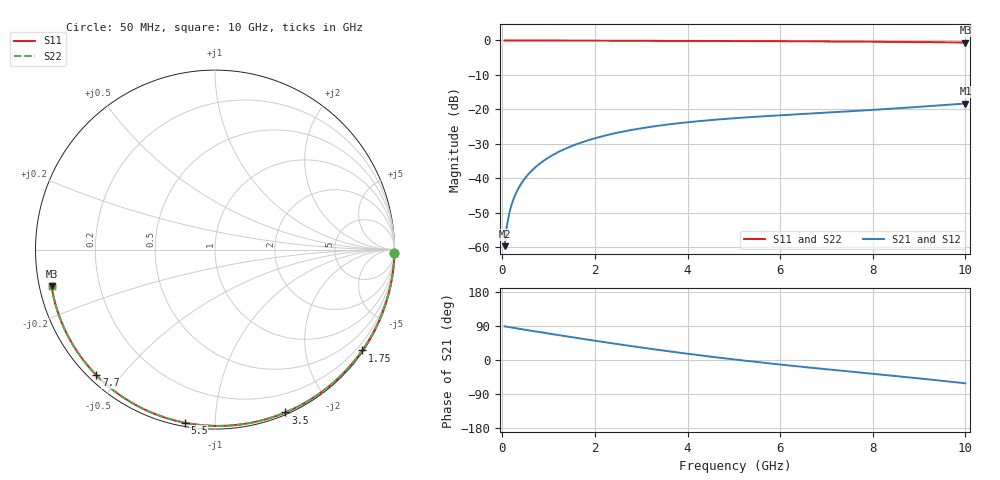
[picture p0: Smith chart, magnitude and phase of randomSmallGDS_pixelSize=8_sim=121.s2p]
! freq	dB(S11)	phase(S11)	dB(S12)	phase(S12)
!  dB(S21)	phase(S21)	dB(S22)	phase(S22)
!S-par simulation data
#  GHz  S  DB  R 50
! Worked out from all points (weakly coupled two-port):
!   200 points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, 50 MHz to 10 GHz, reference 50 ohm
!   highest |S21| = -18.32 dB at 10 GHz (marker M1); lowest = -59.8 dB at 50 MHz (marker M2)
!   lowest |S11| = -0.6 dB at 10 GHz (marker M3), VSWR 29.06, Z = 1.74 - j5.53 ohm
!   |S11| at or under -10 dB: nowhere
!   |S22| runs from -0.6 to 0.0 dB; largest |S21 - S12| = 0
!   S11 on the Smith chart (normalised r, x): 50 MHz: open; 1.75 GHz: 0.03, -3.23; 3.5 GHz: 0.02, -1.52; 5.5 GHz: 0.02, -0.84; 7.7 GHz: 0.02, -0.43; 10 GHz: 0.03, -0.11
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0.05  -0.00 -1.0  -59.78 88.9  -59.78 88.9  -0.00 -1.0
0.1  -0.00 -2.0  -53.77 87.8  -53.77 87.8  -0.00 -2.0
0.15  -0.00 -3.0  -50.25 86.8  -50.25 86.8  -0.00 -3.0
0.2  -0.00 -4.0  -47.76 85.7  -47.76 85.7  -0.00 -4.0
0.25  -0.00 -5.0  -45.83 84.7  -45.83 84.7  -0.00 -5.0
0.35  -0.01 -7.0  -42.94 82.6  -42.94 82.6  -0.01 -7.0
0.5  -0.01 -10.0  -39.88 79.6  -39.88 79.6  -0.01 -10.0
0.7  -0.02 -14.0  -37.02 75.7  -37.02 75.7  -0.02 -14.0
1  -0.03 -19.9  -34.01 69.8  -34.01 69.8  -0.03 -19.9
1.35  -0.04 -26.7  -31.53 63.1  -31.53 63.1  -0.04 -26.7
1.75  -0.05 -34.4  -29.46 55.5  -29.46 55.5  -0.05 -34.4
2.6  -0.07 -50.4  -26.50 40.0  -26.50 40.0  -0.07 -50.4
3.4  -0.10 -64.9  -24.73 26.2  -24.73 26.2  -0.10 -64.9
3.5  -0.10 -66.6  -24.55 24.5  -24.55 24.5  -0.10 -66.6
4.25  -0.13 -79.5  -23.44 12.6  -23.44 12.6  -0.13 -79.5
5.05  -0.16 -92.8  -22.56 0.8  -22.56 0.8  -0.16 -92.8
5.5  -0.18 -100.0  -22.16 -5.4  -22.16 -5.4  -0.18 -100.0
6.7  -0.25 -118.5  -21.21 -20.8  -21.21 -20.8  -0.25 -118.5
7.7  -0.33 -133.4  -20.43 -32.8  -20.43 -32.8  -0.33 -133.4
8.35  -0.39 -142.9  -19.88 -40.5  -19.88 -40.5  -0.39 -142.9
9.2  -0.49 -155.4  -19.10 -51.1  -19.10 -51.1  -0.49 -155.4
10  -0.60 -167.4  -18.32 -61.5  -18.32 -61.5  -0.60 -167.4
